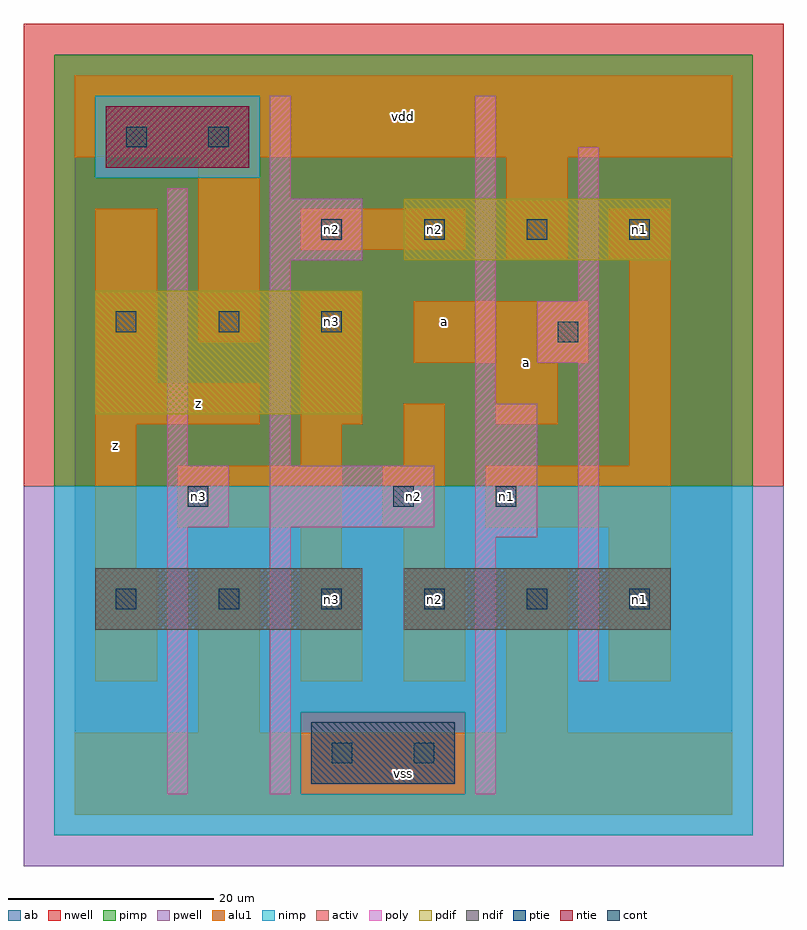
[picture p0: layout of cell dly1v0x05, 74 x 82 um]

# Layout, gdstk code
import gdstk
lib = gdstk.Library(unit=1e-6, precision=1e-09)
def R(c, l, rs):  # rectangles x0, y0, x1, y1
    for r in rs: c.add(gdstk.rectangle(r[:2], r[2:], *l))
def A(c, l, x, y, w, h, nx, ny, dx, dy):  # array of equal rectangles
    R(c, l, [(x+i*dx, y+j*dy, x+i*dx+w, y+j*dy+h) for i in range(nx) for j in range(ny)])
ndif = (3, 0)
pdif = (4, 0)
ntie = (5, 0)
ptie = (6, 0)
cont = (25, 0)
pwell = (41, 0)
nwell = (42, 0)
activ = (43, 0)
pimp = (44, 0)
nimp = (45, 0)
poly = (46, 0)
alu1 = (49, 0)
ab = (63, 0)

dly1v0x05 = lib.new_cell('dly1v0x05')
R(dly1v0x05, ndif, [(2,18,28,24), (32,18,58,24)])
R(dly1v0x05, pdif, [(2,39,28,51), (32,54,58,60)])
R(dly1v0x05, ntie, [(3,63,17,69)])
R(dly1v0x05, ptie, [(23,3,37,9)])
A(dly1v0x05, cont, 4, 20, 2, 2, 6, 1, 10, 0)
A(dly1v0x05, cont, 4, 47, 2, 2, 3, 1, 10, 0)
A(dly1v0x05, cont, 24, 56, 2, 2, 4, 1, 10, 0)
R(dly1v0x05, cont, [(25,5,27,7), (33,5,35,7), (11,30,13,32), (31,30,33,32), (41,30,43,32), (47,46,49,48), (5,65,7,67), (13,65,15,67)])
R(dly1v0x05, pwell, [(-5,-5,69,32)])
R(dly1v0x05, nwell, [(-5,32,69,77)])
R(dly1v0x05, activ, [(23,3,37,9), (2,18,28,24), (32,18,58,24), (2,39,28,51), (32,54,58,60), (3,63,17,69)])
R(dly1v0x05, pimp, [(22,2,38,10), (-2,32,66,62), (-2,62,2,70), (18,62,66,70), (-2,70,66,74)])
R(dly1v0x05, nimp, [(-2,-2,66,2), (-2,2,22,10), (38,2,66,10), (-2,10,66,32), (2,62,18,70)])
R(dly1v0x05, poly, [(9,2,11,28), (19,2,21,28), (39,2,41,27), (49,13,51,44), (39,27,45,40), (9,28,15,34), (19,28,35,34), (9,34,11,61), (19,34,21,54), (39,40,41,70), (45,44,51,50), (49,50,51,65), (19,54,28,60), (19,60,21,70)])
R(dly1v0x05, alu1, [(0,0,64,8), (12,8,18,24), (42,8,48,24), (2,13,8,24), (22,13,28,24), (32,13,38,24), (52,13,58,28), (2,24,6,38), (22,24,26,28), (32,24,36,28), (10,28,26,34), (30,28,36,34), (40,28,58,34), (22,34,26,38), (32,34,36,40), (54,34,58,54), (2,38,18,42), (22,38,28,51), (41,38,47,44), (2,42,8,59), (33,44,50,50), (12,46,18,64), (42,54,48,64), (52,54,58,59), (22,55,38,59), (0,64,64,72)])
R(dly1v0x05, ab, [(0,0,64,72)])
dly1v0x05.add(gdstk.Label('n3', (12,31), layer=49, texttype=0))
dly1v0x05.add(gdstk.Label('n3', (25,21), layer=49, texttype=0))
dly1v0x05.add(gdstk.Label('n3', (25,48), layer=49, texttype=0))
dly1v0x05.add(gdstk.Label('n2', (25,57), layer=49, texttype=0))
dly1v0x05.add(gdstk.Label('n2', (35,21), layer=49, texttype=0))
dly1v0x05.add(gdstk.Label('n2', (33,31), layer=49, texttype=0))
dly1v0x05.add(gdstk.Label('n2', (35,57), layer=49, texttype=0))
dly1v0x05.add(gdstk.Label('n1', (55,21), layer=49, texttype=0))
dly1v0x05.add(gdstk.Label('n1', (42,31), layer=49, texttype=0))
dly1v0x05.add(gdstk.Label('n1', (55,57), layer=49, texttype=0))
dly1v0x05.add(gdstk.Label('z', (12,40), layer=49, texttype=0))
dly1v0x05.add(gdstk.Label('z', (4,36), layer=49, texttype=0))
dly1v0x05.add(gdstk.Label('vss', (32,4), layer=49, texttype=0))
dly1v0x05.add(gdstk.Label('a', (36,48), layer=49, texttype=0))
dly1v0x05.add(gdstk.Label('a', (44,44), layer=49, texttype=0))
dly1v0x05.add(gdstk.Label('vdd', (32,68), layer=49, texttype=0))

lib.write_gds('dly1v0x05.gds')
